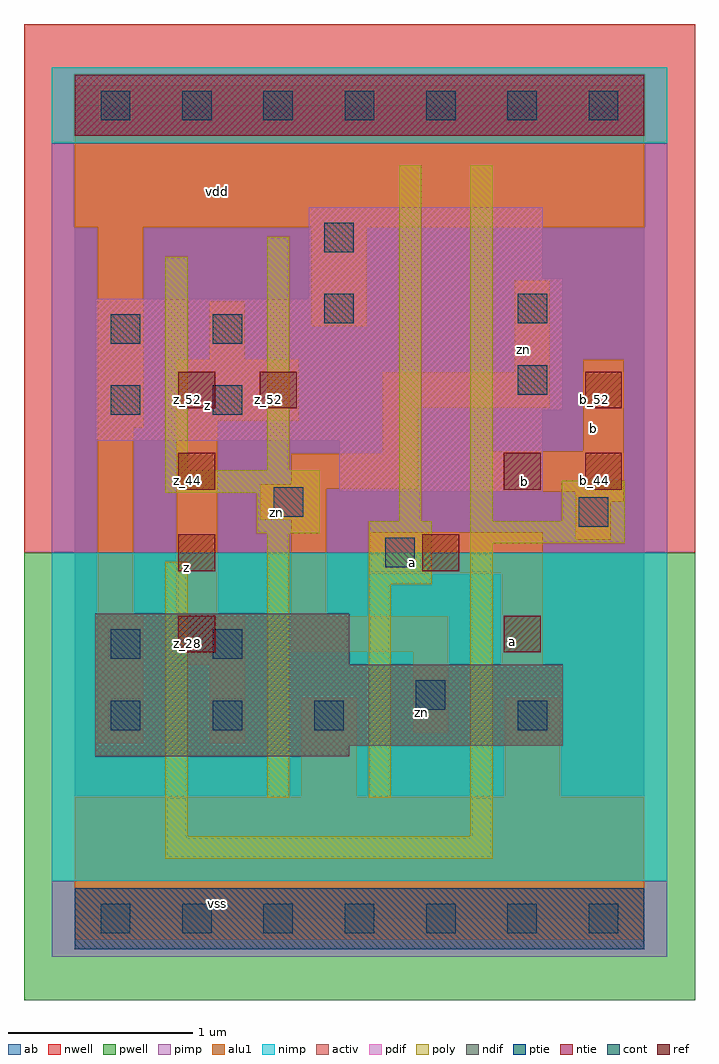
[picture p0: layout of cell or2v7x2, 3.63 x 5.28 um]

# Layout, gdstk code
import gdstk
lib = gdstk.Library(unit=1e-6, precision=2.5e-09)
def R(c, l, rs):  # rectangles x0, y0, x1, y1
    for r in rs: c.add(gdstk.rectangle(r[:2], r[2:], *l))
def A(c, l, x, y, w, h, nx, ny, dx, dy):  # array of equal rectangles
    R(c, l, [(x+i*dx, y+j*dy, x+i*dx+w, y+j*dy+h) for i in range(nx) for j in range(ny)])
ndif = (3, 0)
pdif = (4, 0)
ntie = (5, 0)
ptie = (6, 0)
ref = (24, 0)
cont = (25, 0)
pwell = (41, 0)
nwell = (42, 0)
activ = (43, 0)
pimp = (44, 0)
nimp = (45, 0)
poly = (46, 0)
alu1 = (49, 0)
ab = (63, 0)

or2v7x2 = lib.new_cell('or2v7x2')
R(or2v7x2, ndif, [(0.11,0.88,1.485,0.935), (0.11,0.935,2.64,1.375), (0.11,1.375,1.485,1.65)])
R(or2v7x2, pdif, [(1.43,2.31,2.53,2.585), (0.11,2.585,2.53,2.75), (0.11,2.75,2.64,3.355), (1.265,3.355,2.64,3.465), (1.265,3.465,2.53,3.85)])
R(or2v7x2, ntie, [(0,4.235,3.08,4.565)])
R(or2v7x2, ptie, [(0,-0.165,3.08,0.165)])
A(or2v7x2, ref, 0.56, 1.44, 0.2, 0.2, 1, 4, 0, 0.44)
R(or2v7x2, ref, [(2.32,1.44,2.52,1.64), (1.88,1.88,2.08,2.08), (2.32,2.32,2.52,2.52), (2.76,2.32,2.96,2.52), (1,2.76,1.2,2.96), (2.76,2.76,2.96,2.96)])
A(or2v7x2, cont, 0.14, -0.08, 0.16, 0.16, 7, 2, 0.44, 4.4)
A(or2v7x2, cont, 0.195, 1.02, 0.16, 0.16, 3, 1, 0.55, 0)
R(or2v7x2, cont, [(2.395,1.02,2.555,1.18), (1.845,1.13,2.005,1.29), (0.195,1.405,0.355,1.565), (0.745,1.405,0.905,1.565), (1.68,1.9,1.84,2.06), (2.725,2.12,2.885,2.28), (1.075,2.175,1.235,2.335), (0.195,2.725,0.355,2.885), (0.745,2.725,0.905,2.885), (2.395,2.835,2.555,2.995), (0.195,3.11,0.355,3.27), (0.745,3.11,0.905,3.27), (1.35,3.22,1.51,3.38), (2.395,3.22,2.555,3.38), (1.35,3.605,1.51,3.765)])
R(or2v7x2, pwell, [(-0.275,-0.44,3.355,1.98)])
R(or2v7x2, nwell, [(-0.275,1.98,3.355,4.84)])
R(or2v7x2, activ, [(0,-0.165,3.08,0.165), (0.11,0.88,1.485,0.935), (0.11,0.935,2.64,1.375), (0.11,1.375,1.485,1.65), (1.43,2.31,2.53,2.585), (0.11,2.585,2.53,2.75), (0.11,2.75,2.64,3.355), (1.265,3.355,2.64,3.465), (1.265,3.465,2.53,3.85), (0,4.235,3.08,4.565)])
R(or2v7x2, pimp, [(-0.125,-0.205,3.205,0.205), (-0.125,1.98,3.205,4.195)])
R(or2v7x2, nimp, [(-0.125,0.205,3.205,1.98), (-0.125,4.195,3.205,4.605)])
R(or2v7x2, poly, [(0.49,0.325,2.26,0.445), (0.49,0.445,0.61,1.93), (2.14,0.445,2.26,2.03), (1.04,0.655,1.16,2.085), (1.59,0.655,1.71,1.81), (1.59,1.81,1.93,2.15), (2.14,2.03,2.975,2.15), (0.985,2.085,1.325,2.305), (1.755,2.15,1.875,4.075), (2.14,2.15,2.26,4.075), (2.635,2.15,2.975,2.37), (0.49,2.305,1.325,2.425), (0.49,2.425,0.61,3.58), (1.04,2.425,1.16,3.69)])
R(or2v7x2, alu1, [(0,-0.11,3.08,0.66), (1.225,0.66,1.525,1.195), (2.325,0.66,2.625,1.195), (0.125,0.95,0.37,1.635), (0.73,0.95,0.92,1.375), (1.83,1.005,2.02,1.445), (0.55,1.375,0.92,1.635), (2.31,1.375,2.53,1.87), (1.17,1.445,2.02,1.635), (0.125,1.635,0.315,2.655), (0.55,1.635,0.77,2.695), (1.17,1.635,1.36,2.16), (1.595,1.87,2.53,2.09), (2.71,2.05,2.9,2.255), (1.005,2.16,1.36,2.325), (2.71,2.255,2.97,2.31), (2.255,2.31,2.97,2.53), (1.005,2.325,1.855,2.35), (1.17,2.35,1.855,2.515), (1.665,2.515,1.855,2.765), (2.75,2.53,2.97,3.025), (0.125,2.655,0.37,3.74), (0.55,2.695,1.21,3.025), (1.665,2.765,2.57,2.955), (2.38,2.955,2.57,3.45), (0.73,3.025,0.92,3.34), (1.28,3.205,1.58,3.74), (0,3.74,3.08,4.51)])
R(or2v7x2, ab, [(0,0,3.08,4.4)])
or2v7x2.add(gdstk.Label('vss', (0.77,0.0825), layer=49, texttype=0))
or2v7x2.add(gdstk.Label('a', (2.365,1.4975), layer=49, texttype=0))
or2v7x2.add(gdstk.Label('zn', (1.8775,1.115), layer=49, texttype=0))
or2v7x2.add(gdstk.Label('a', (1.8275,1.925), layer=49, texttype=0))
or2v7x2.add(gdstk.Label('b', (2.4325,2.365), layer=49, texttype=0))
or2v7x2.add(gdstk.Label('zn', (1.0925,2.2), layer=49, texttype=0))
or2v7x2.add(gdstk.Label('b', (2.805,2.6525), layer=49, texttype=0))
or2v7x2.add(gdstk.Label('z', (0.605,1.9), layer=49, texttype=0))
or2v7x2.add(gdstk.Label('zn', (2.4275,3.0775), layer=49, texttype=0))
or2v7x2.add(gdstk.Label('z', (0.715,2.7775), layer=49, texttype=0))
or2v7x2.add(gdstk.Label('vdd', (0.77,3.9325), layer=49, texttype=0))
or2v7x2.add(gdstk.Label('z_28', (0.61,1.49), layer=24, texttype=0))
or2v7x2.add(gdstk.Label('z_36', (0.61,1.93), layer=24, texttype=0))
or2v7x2.add(gdstk.Label('z_44', (0.61,2.37), layer=24, texttype=0))
or2v7x2.add(gdstk.Label('z_52', (0.61,2.81), layer=24, texttype=0))
or2v7x2.add(gdstk.Label('z_52', (1.05,2.81), layer=24, texttype=0))
or2v7x2.add(gdstk.Label('a_36', (1.93,1.93), layer=24, texttype=0))
or2v7x2.add(gdstk.Label('a_28', (2.37,1.49), layer=24, texttype=0))
or2v7x2.add(gdstk.Label('b_44', (2.37,2.37), layer=24, texttype=0))
or2v7x2.add(gdstk.Label('b_44', (2.81,2.37), layer=24, texttype=0))
or2v7x2.add(gdstk.Label('b_52', (2.81,2.81), layer=24, texttype=0))

lib.write_gds('or2v7x2.gds')
